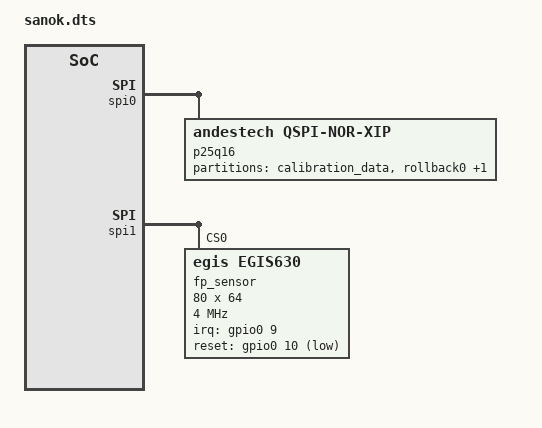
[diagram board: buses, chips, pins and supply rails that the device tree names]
/* Copyright 2023 The ChromiumOS Authors.
 * Use of this source code is governed by a BSD-style license that can be
 * found in the LICENSE file.
 */

#include <egis/common_priv.dtsi>

#include "soc.dtsi"
#include "gpio.dtsi"
#include "rwsig.dtsi"

#include <cros/integrated_fwid.dtsi>

/ {
	chosen {
		cros-fp,fingerprint-sensor = &fp_sensor;
		cros-ec,flash = &p25q16;
		zephyr,flash = &p25q16;
		zephyr,flash-controller = &p25q16;
		flash-header = &flash_header;
	};

	named-bbram-regions {
		compatible = "named-bbram-regions";

		scratchpad {
			offset = <0x00>;
			size = <0x02>;
		};
		saved-reset-flags {
			offset = <0x02>;
			size = <0x04>;
		};
		saved-panic-reason {
			offset = <0x06>;
			size = <0x02>;
		};
		saved-panic-info {
			offset = <0x08>;
			size = <0x02>;
		};
		saved-panic-exception {
			offset = <0x0a>;
			size = <0x02>;
		};
		saved-panic-flags {
			offset = <0x0c>;
			size = <0x02>;
		};
	};


	/* Map the sections to fit the flash chip protection table */ 
	binman {
		/* SDCP flash header 4kB */
		flash-header {
			offset = <0x0>;
			size = <0x1000>;
			type = "blob";
			filename = "../build-ro/flash_header.bin";
		};

		/* Fill 1/4 of 1MB */
		wp-ro {
			offset = <0x1000>;
			size = <(0x40000 - 0x1000)>;
			ec-ro {
				offset = <0x0>;
				size = <(0x40000 - 0x1000)>;
				pad-byte = <0xff>;
			};
		};

		/* Use the rest for RW + Rollbacks. Erase unit(4kB) per rollback */
		rollback0 {
			offset = <0x40000>;
			size = <0x1000>;
			type = "blob";
			filename = "../build-rw/rollback_initial_data.bin";
		};

		rollback1 {
			offset = <0x41000>;
			size = <0x1000>;
			type = "blob";
			filename = "../build-rw/rollback_initial_data.bin";
		};

		ec-rw {
			offset = <0x42000>;
			size = <0xbe000>;
			rw-fw {
				/*
				 * Clang doesn't emit STT_SECTION symbols (also
				 * called 'section symbols'), so 'rom_start'
				 * symbol is not available. Fortunately, Zephyr
				 * linker scripts provide '__rom_start_address'
				 * symbol which points to the beginning of
				 * 'rom_start' section.
				 */
				zephyr-rw {
					elf-base-sym = "__rom_start_address";
				};
			};
		};
		pad-byte = <0xff>;
	};
};

&spi0 {
	p25q16: qspi-nor-flash {
		compatible = "andestech,qspi-nor-xip", "jedec,spi-nor";
		size = <DT_SIZE_K(1024)>;
		status = "okay";
	};
};

&p25q16 {
	partitions {
		compatible = "fixed-partitions";
		#address-cells = <1>;
		#size-cells = <1>;

		calibration_data: partition@1b9 {
			label = "calibration_data";
			reg = <0x1b9 256>;
		};

		rollback0: partition@40000 {
			label = "rollback0";
			reg = <0x40000 DT_SIZE_K(4)>;
		};

		rollback1: partition@41000 {
			label = "rollback1";
			reg = <0x41000 DT_SIZE_K(4)>;
		};
	};
};

&spi1 {
	fp_sensor: egis630@0 {
		compatible = "egis,egis630";
		reg = <0>;
		spi-max-frequency = <4000000>;

		width = <80>;
		height = <64>;
		bits-per-pixel = <8>;
		v4l2-pixel-format = "V4L2_PIX_FMT_GREY";

		irq-gpios = <&gpio0 9 GPIO_ACTIVE_HIGH>;
		reset-gpios = <&gpio0 10 GPIO_ACTIVE_LOW>;
		calibration-data-addr = <0x800001b9>;
	};
};
